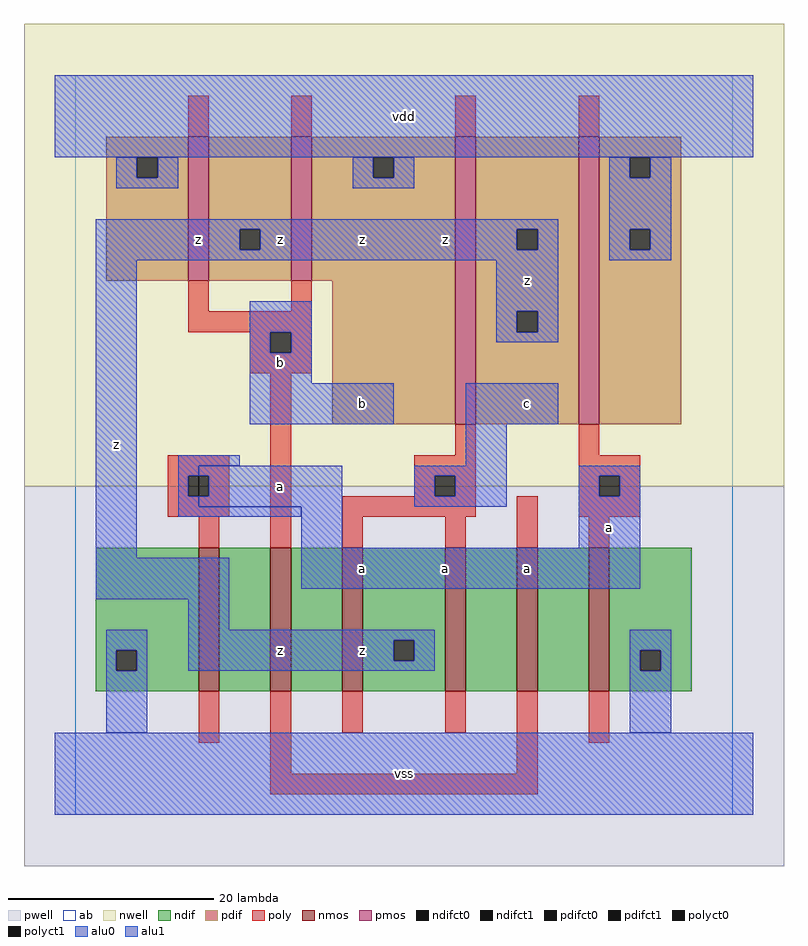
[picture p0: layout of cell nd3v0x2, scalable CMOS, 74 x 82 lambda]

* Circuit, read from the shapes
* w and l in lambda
.subckt nd3v0x2 a b c vdd vss z
M1 n1 a vss VSUBS nfet w=14 l=2
M2 n2 b n1 VSUBS nfet w=14 l=2
M3 z c n2 VSUBS nfet w=14 l=2
M4 n3 c z VSUBS nfet w=14 l=2
M5 n4 b n3 VSUBS nfet w=14 l=2
M6 vss a n4 VSUBS nfet w=14 l=2
M7 z b vdd n5 pfet w=14 l=2 m=2
M8 z c vdd n5 pfet w=28 l=2
M9 vdd a z n5 pfet w=28 l=2
.ends

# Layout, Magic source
magic
tech scmos
<< ab >>
rect 0 0 64 72
<< nwell >>
rect -5 32 69 77
<< pwell >>
rect -5 -5 69 32
<< poly >>
rect 11 66 13 70
rect 21 66 23 70
rect 37 66 39 70
rect 49 66 51 70
rect 11 49 13 52
rect 21 49 23 52
rect 11 47 23 49
rect 17 45 19 47
rect 21 45 23 47
rect 17 43 23 45
rect 9 33 15 35
rect 9 31 11 33
rect 13 31 15 33
rect 9 29 15 31
rect 12 26 14 29
rect 19 26 21 43
rect 37 35 39 38
rect 33 33 39 35
rect 33 31 35 33
rect 37 31 39 33
rect 49 35 51 38
rect 49 33 55 35
rect 49 31 51 33
rect 53 31 55 33
rect 26 29 39 31
rect 26 26 28 29
rect 36 26 38 29
rect 43 26 45 31
rect 49 29 55 31
rect 50 26 52 29
rect 12 7 14 12
rect 19 4 21 12
rect 26 8 28 12
rect 36 8 38 12
rect 43 4 45 12
rect 50 7 52 12
rect 19 2 45 4
<< ndif >>
rect 2 16 12 26
rect 2 14 4 16
rect 6 14 12 16
rect 2 12 12 14
rect 14 12 19 26
rect 21 12 26 26
rect 28 17 36 26
rect 28 15 31 17
rect 33 15 36 17
rect 28 12 36 15
rect 38 12 43 26
rect 45 12 50 26
rect 52 16 60 26
rect 52 14 55 16
rect 57 14 60 16
rect 52 12 60 14
<< pdif >>
rect 3 64 11 66
rect 3 62 6 64
rect 8 62 11 64
rect 3 52 11 62
rect 13 57 21 66
rect 13 55 16 57
rect 18 55 21 57
rect 13 52 21 55
rect 23 64 37 66
rect 23 62 29 64
rect 31 62 37 64
rect 23 52 37 62
rect 25 38 37 52
rect 39 57 49 66
rect 39 55 43 57
rect 45 55 49 57
rect 39 49 49 55
rect 39 47 43 49
rect 45 47 49 49
rect 39 38 49 47
rect 51 64 59 66
rect 51 62 54 64
rect 56 62 59 64
rect 51 57 59 62
rect 51 55 54 57
rect 56 55 59 57
rect 51 38 59 55
<< alu1 >>
rect -2 64 66 72
rect 2 57 47 58
rect 2 55 16 57
rect 18 55 43 57
rect 45 55 47 57
rect 2 54 47 55
rect 2 25 6 54
rect 17 47 23 50
rect 17 45 19 47
rect 21 45 23 47
rect 41 49 47 54
rect 41 47 43 49
rect 45 47 47 49
rect 41 46 47 47
rect 17 42 23 45
rect 17 38 31 42
rect 38 38 47 42
rect 38 34 42 38
rect 12 33 26 34
rect 13 31 26 33
rect 12 30 26 31
rect 33 33 42 34
rect 33 31 35 33
rect 37 31 42 33
rect 33 30 42 31
rect 49 33 55 34
rect 49 31 51 33
rect 53 31 55 33
rect 22 26 26 30
rect 49 26 55 31
rect 2 21 15 25
rect 22 22 55 26
rect 11 18 15 21
rect 11 17 35 18
rect 11 15 31 17
rect 33 15 35 17
rect 11 14 35 15
rect -2 0 66 8
<< nmos >>
rect 12 12 14 26
rect 19 12 21 26
rect 26 12 28 26
rect 36 12 38 26
rect 43 12 45 26
rect 50 12 52 26
<< pmos >>
rect 11 52 13 66
rect 21 52 23 66
rect 37 38 39 66
rect 49 38 51 66
<< polyct0 >>
rect 11 31 12 33
<< polyct1 >>
rect 19 45 21 47
rect 12 31 13 33
rect 35 31 37 33
rect 51 31 53 33
<< ndifct0 >>
rect 4 14 6 16
rect 55 14 57 16
<< ndifct1 >>
rect 31 15 33 17
<< pdifct0 >>
rect 6 62 8 64
rect 29 62 31 64
rect 54 62 56 64
rect 54 55 56 57
<< pdifct1 >>
rect 16 55 18 57
rect 43 55 45 57
rect 43 47 45 49
<< alu0 >>
rect 4 62 6 64
rect 8 62 10 64
rect 4 61 10 62
rect 27 62 29 64
rect 31 62 33 64
rect 27 61 33 62
rect 52 62 54 64
rect 56 62 58 64
rect 52 57 58 62
rect 52 55 54 57
rect 56 55 58 57
rect 52 54 58 55
rect 10 34 16 35
rect 10 33 12 34
rect 10 31 11 33
rect 10 30 12 31
rect 10 29 22 30
rect 3 16 7 18
rect 3 14 4 16
rect 6 14 7 16
rect 54 16 58 18
rect 54 14 55 16
rect 57 14 58 16
rect 3 8 7 14
rect 54 8 58 14
<< labels >>
rlabel alu1 4 36 4 36 6 z
rlabel alu1 12 56 12 56 6 z
rlabel alu1 20 16 20 16 6 z
rlabel alu1 28 16 28 16 6 z
rlabel alu1 28 24 28 24 6 a
rlabel alu1 20 32 20 32 6 a
rlabel alu1 28 40 28 40 6 b
rlabel alu1 20 44 20 44 6 b
rlabel alu1 20 56 20 56 6 z
rlabel alu1 28 56 28 56 6 z
rlabel alu1 32 4 32 4 6 vss
rlabel alu1 36 24 36 24 6 a
rlabel alu1 44 24 44 24 6 a
rlabel alu1 44 40 44 40 6 c
rlabel alu1 44 52 44 52 6 z
rlabel alu1 36 56 36 56 6 z
rlabel alu1 32 68 32 68 6 vdd
rlabel alu1 52 28 52 28 6 a
<< end >>
